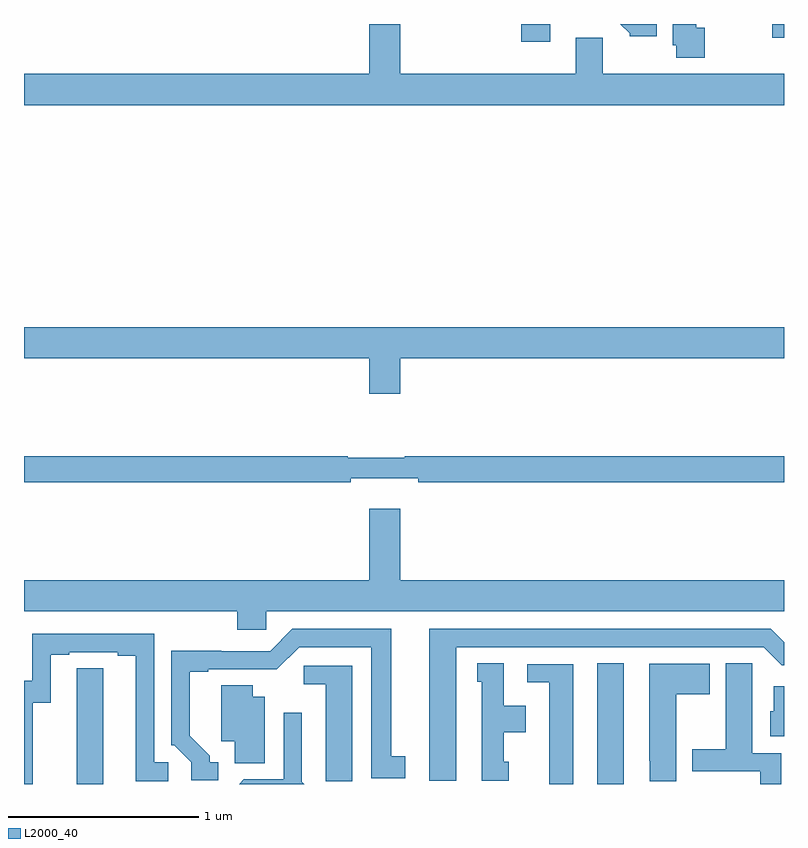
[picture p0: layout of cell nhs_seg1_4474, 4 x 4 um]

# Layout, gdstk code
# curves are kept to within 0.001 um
import gdstk
lib = gdstk.Library(unit=1e-6, precision=1e-09)
def R(c, l, rs):  # rectangles x0, y0, x1, y1
    for r in rs: c.add(gdstk.rectangle(r[:2], r[2:], *l))
def P(c, l, *ps):  # polygons
    for p in ps: c.add(gdstk.Polygon(p, *l))
L2000_40 = (2000, 40)

nhs_seg1_4474 = lib.new_cell('nhs_seg1_4474')
R(nhs_seg1_4474, L2000_40, [(358.016,508.199,358.156,508.835), (357.617,512.106,357.769,512.199), (358.939,512.127,359,512.199)])
P(nhs_seg1_4474, L2000_40, [(359,511.936),(358.045,511.936),(358.045,512.126),(357.905,512.126),(357.905,511.936),(356.98,511.936),(356.98,512.199),(356.816,512.199),(356.816,511.936),(355,511.936),(355,511.772),(359,511.772)],
  [(358.584,512.178),(358.537,512.178),(358.537,512.199),(358.415,512.199),(358.415,512.088),(358.432,512.088),(358.432,512.022),(358.584,512.022)],
  [(358.33,512.199),(358.139,512.199),(358.188,512.15),(358.188,512.135),(358.33,512.135)],
  [(356.98,510.44),(359,510.44),(359,510.604),(355,510.604),(355,510.44),(356.816,510.44),(356.816,510.252),(356.98,510.252)],
  [(356.72,509.807),(357.076,509.807),(357.076,509.788),(359,509.788),(359,509.924),(357.005,509.924),(357.005,509.917),(356.705,509.917),(356.705,509.924),(355,509.924),(355,509.788),(356.72,509.788)],
  [(356.274,509.108),(359,509.108),(359,509.272),(356.98,509.272),(356.98,509.647),(356.816,509.647),(356.816,509.272),(355,509.272),(355,509.108),(356.123,509.108),(356.123,509.01),(356.274,509.01)],
  [(356.023,508.314),(355.978,508.314),(355.978,508.349),(355.873,508.454),(355.873,508.791),(355.969,508.791),(355.969,508.803),(356.33,508.802),(356.448,508.92),(356.828,508.92),(356.828,508.23),(357.007,508.23),(357.007,508.346),(356.932,508.346),(356.932,509.016),(356.412,509.016),(356.295,508.899),(356.039,508.899),(356.039,508.901),(355.776,508.901),(355.776,508.404),(355.791,508.404),(355.881,508.314),(355.881,508.218),(356.023,508.218)],
  [(357.274,508.92),(358.893,508.92),(358.989,508.824),(359,508.824),(359,508.945),(358.929,509.016),(357.134,509.016),(357.134,508.215),(357.274,508.215)],
  [(355.047,508.627),(355.141,508.627),(355.141,508.878),(355.237,508.878),(355.237,508.893),(355.493,508.893),(355.493,508.873),(355.589,508.873),(355.589,508.213),(355.759,508.213),(355.759,508.314),(355.686,508.314),(355.686,508.989),(355.044,508.989),(355.044,508.743),(355,508.743),(355,508.199),(355.047,508.199)],
  [(357.55,508.317),(357.526,508.317),(357.526,508.472),(357.64,508.472),(357.64,508.612),(357.526,508.612),(357.526,508.835),(357.386,508.835),(357.386,508.737),(357.41,508.737),(357.41,508.215),(357.55,508.215)],
  [(358.985,508.362),(358.834,508.362),(358.834,508.724),(358.833,508.724),(358.833,508.835),(358.694,508.835),(358.694,508.383),(358.517,508.383),(358.517,508.266),(358.876,508.266),(358.876,508.199),(358.985,508.199)],
  [(358.432,508.672),(358.609,508.672),(358.609,508.831),(358.292,508.831),(358.292,508.321),(358.293,508.321),(358.293,508.213),(358.432,508.213)],
  [(357.892,508.83),(357.648,508.83),(357.648,508.734),(357.764,508.734),(357.764,508.199),(357.892,508.199)],
  [(356.728,508.821),(356.472,508.821),(356.472,508.724),(356.588,508.724),(356.588,508.321),(356.589,508.321),(356.589,508.213),(356.728,508.213)],
  [(355.417,508.808),(355.278,508.808),(355.278,508.7),(355.277,508.7),(355.277,508.199),(355.417,508.199)],
  [(356.266,508.657),(356.203,508.657),(356.203,508.718),(356.039,508.718),(356.039,508.424),(356.108,508.424),(356.108,508.309),(356.266,508.309)],
  [(359,508.714),(358.946,508.714),(358.946,508.581),(358.928,508.581),(358.928,508.451),(359,508.451)],
  [(356.463,508.212),(356.463,508.573),(356.367,508.573),(356.367,508.224),(356.157,508.224),(356.132,508.199),(356.476,508.199)])

lib.write_gds('nhs_seg1_4474.gds')
